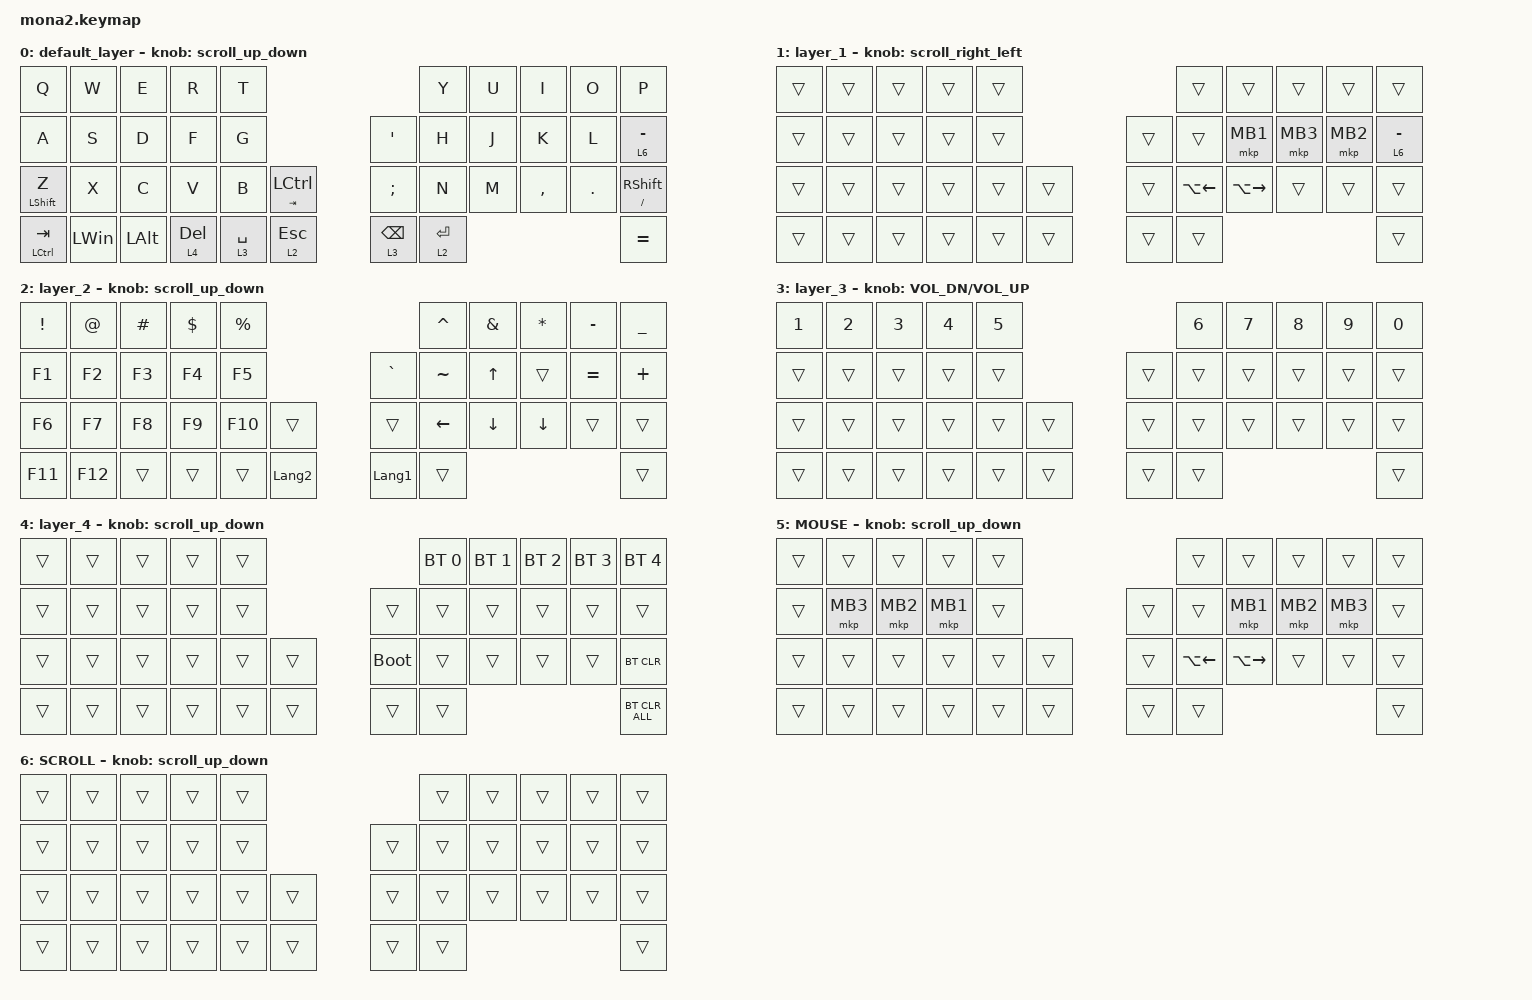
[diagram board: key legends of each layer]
#include <input/processors.dtsi>
#include <dt-bindings/zmk/input_transform.h>
#include <zephyr/dt-bindings/input/input-event-codes.h>
#include <behaviors.dtsi>
#include <dt-bindings/zmk/bt.h>
#include <dt-bindings/zmk/keys.h>
#include <dt-bindings/zmk/pointing.h>

#define ZMK_POINTING_DEFAULT_SCRL_VAL 100
#define MOUSE 5
#define SCROLL 6

&mt {
    flavor = "balanced";
    quick-tap-ms = <0>;
};

&lt {
    quick-tap-ms = <300>;
    flavor = "balanced";
};

/ {
    combos {
        compatible = "zmk,combos";

        layer4_ESC {
            bindings = <&lt 4 ESC>;
            key-positions = <39 38>;
        };

        tab {
            bindings = <&kp TAB>;
            key-positions = <11 12>;
        };
    };

    macros {
        to_layer_0: to_layer_0 {
            compatible = "zmk,behavior-macro-one-param";
            #binding-cells = <1>;
            bindings = <&to 0 &macro_param_1to1 &kp MACRO_PLACEHOLDER>;
            label = "TO_LAYER_0";
        };
    };

    behaviors {
        lt_to_layer_0: lt_to_layer_0 {
            compatible = "zmk,behavior-hold-tap";
            label = "LAYER_TAP_TO_0";
            bindings = <&mo>, <&to_layer_0>;

            #binding-cells = <2>;
            tapping-term-ms = <200>;
        };

        scroll_up_down: mouse_wheel_up_down {
            compatible = "zmk,behavior-sensor-rotate";
            #sensor-binding-cells = <0>;
            bindings = <&msc SCRL_DOWN>, <&msc SCRL_UP>;

            tap-ms = <20>;
        };

        scroll_right_left: mouse_wheel_right_left {
            compatible = "zmk,behavior-sensor-rotate";
            #sensor-binding-cells = <0>;
            bindings = <&msc SCRL_LEFT>, <&msc SCRL_RIGHT>;

            tap-ms = <20>;
        };
    };

    keymap {
        compatible = "zmk,keymap";

        default_layer {
            bindings = <
&kp Q             &kp W         &kp E         &kp R         &kp T                                                               &kp Y        &kp U  &kp I      &kp O    &kp P
&kp A             &kp S         &kp D         &kp F         &kp G                                   &kp SQT                     &kp H        &kp J  &kp K      &kp L    &lt 6 MINUS
&mt LEFT_SHIFT Z  &kp X         &kp C         &kp V         &kp B        &mt TAB LCTRL              &kp SEMICOLON               &kp N        &kp M  &kp COMMA  &kp DOT  &mt SLASH RSHFT
&mt LCTRL TAB     &kp LEFT_WIN  &kp LEFT_ALT  &lt 4 DELETE  &lt 3 SPACE  &lt_to_layer_0 2 ESCAPE    &lt_to_layer_0 3 BACKSPACE  &lt 2 ENTER                             &kp EQUAL
            >;

            sensor-bindings = <&scroll_up_down>;
        };

        layer_1 {
            bindings = <
&trans  &trans  &trans  &trans  &trans                    &trans              &trans               &trans    &trans    &trans
&trans  &trans  &trans  &trans  &trans            &trans  &trans              &mkp MB1             &mkp MB3  &mkp MB2  &lt 6 MINUS
&trans  &trans  &trans  &trans  &trans  &trans    &trans  &kp LA(LEFT_ARROW)  &kp LA(RIGHT_ARROW)  &trans    &trans    &trans
&trans  &trans  &trans  &trans  &trans  &trans    &trans  &trans                                                       &trans
            >;

            sensor-bindings = <&scroll_right_left>;
        };

        layer_2 {
            bindings = <
&kp EXCLAMATION  &kp AT_SIGN  &kp POUND  &kp DOLLAR  &kp PERCENT                                    &kp CARET       &kp AMPERSAND   &kp ASTERISK    &kp MINUS  &kp UNDERSCORE
&kp F1           &kp F2       &kp F3     &kp F4      &kp F5                         &kp GRAVE       &kp TILDE       &kp UP_ARROW    &trans          &kp EQUAL  &kp PLUS
&kp F6           &kp F7       &kp F8     &kp F9      &kp F10      &trans            &trans          &kp LEFT_ARROW  &kp DOWN_ARROW  &kp DOWN_ARROW  &trans     &trans
&kp F11          &kp F12      &trans     &trans      &trans       &kp LANGUAGE_2    &kp LANGUAGE_1  &trans                                                     &trans
            >;

            sensor-bindings = <&scroll_up_down>;
        };

        layer_3 {
            bindings = <
&kp N1  &kp N2  &kp N3  &kp N4  &kp N5                    &kp N6  &kp N7  &kp N8  &kp N9  &kp N0
&trans  &trans  &trans  &trans  &trans            &trans  &trans  &trans  &trans  &trans  &trans
&trans  &trans  &trans  &trans  &trans  &trans    &trans  &trans  &trans  &trans  &trans  &trans
&trans  &trans  &trans  &trans  &trans  &trans    &trans  &trans                          &trans
            >;

            sensor-bindings = <&inc_dec_kp C_VOL_DN C_VOL_UP>;
        };

        layer_4 {
            bindings = <
&trans  &trans  &trans  &trans  &trans                         &bt BT_SEL 0  &bt BT_SEL 1  &bt BT_SEL 2  &bt BT_SEL 3  &bt BT_SEL 4
&trans  &trans  &trans  &trans  &trans            &trans       &trans        &trans        &trans        &trans        &trans
&trans  &trans  &trans  &trans  &trans  &trans    &bootloader  &trans        &trans        &trans        &trans        &bt BT_CLR
&trans  &trans  &trans  &trans  &trans  &trans    &trans       &trans                                                  &bt BT_CLR_ALL
            >;

            sensor-bindings = <&scroll_up_down>;
        };

        MOUSE {
            bindings = <
&trans  &trans    &trans    &trans    &trans                    &trans              &trans               &trans    &trans    &trans
&trans  &mkp MB3  &mkp MB2  &mkp MB1  &trans            &trans  &trans              &mkp MB1             &mkp MB2  &mkp MB3  &trans
&trans  &trans    &trans    &trans    &trans  &trans    &trans  &kp LA(LEFT_ARROW)  &kp LA(RIGHT_ARROW)  &trans    &trans    &trans
&trans  &trans    &trans    &trans    &trans  &trans    &trans  &trans                                                       &trans
            >;

            sensor-bindings = <&scroll_up_down>;
        };

        SCROLL {
            bindings = <
&trans  &trans  &trans  &trans  &trans                    &trans  &trans  &trans  &trans  &trans
&trans  &trans  &trans  &trans  &trans            &trans  &trans  &trans  &trans  &trans  &trans
&trans  &trans  &trans  &trans  &trans  &trans    &trans  &trans  &trans  &trans  &trans  &trans
&trans  &trans  &trans  &trans  &trans  &trans    &trans  &trans                          &trans
            >;

            sensor-bindings = <&scroll_up_down>;
        };
    };
};
